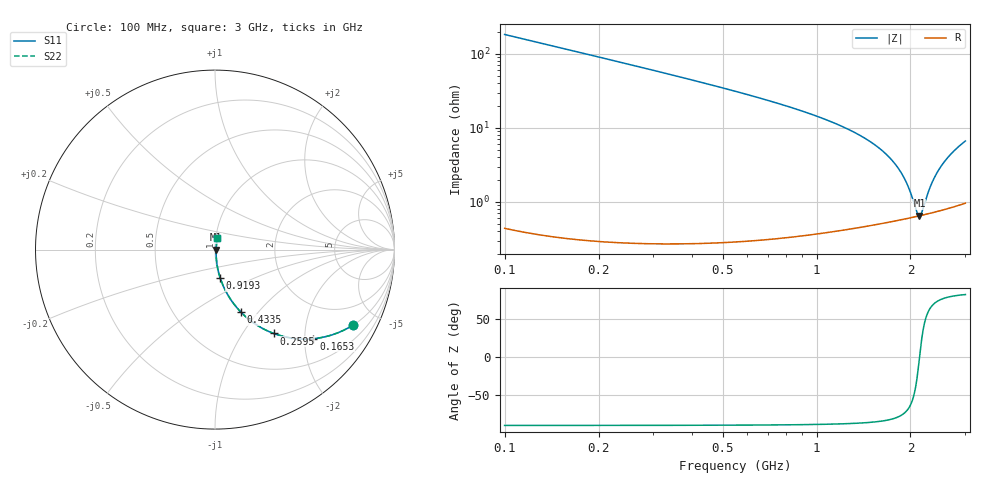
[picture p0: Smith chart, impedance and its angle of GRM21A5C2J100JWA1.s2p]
!Murata Part Number: GRM21A5C2J100JWA1
!These Parameters are Measured in Series Mode Connection
!Data Generated on Mar 30, 2021
!  o--ll--o
!Port1  Port2
!  o------o
!Operation Temp=25[degC], DC Bias Voltage=0[V]
!Freq. Start=100[MHz] Stop=3[GHz] 401[Steps]
# Hz S RI R 50
!Freq.(Hz) S11(Real) S11(Imag) S21(Real) S21(Imag) S12(Real) S12(Imag) S22(Real) S22(Imag)
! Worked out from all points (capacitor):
!   401 points, 100 MHz to 3 GHz, reference 50 ohm
!   read as one part in series: C = 8.69 pF near 114.5 MHz
!   lowest |Z| = 648 mohm at 2.137 GHz (marker M1)
!   series resonance near 2.139 GHz, so ESL is about 640 pH
!   S11 on the Smith chart (normalised r, x): 100 MHz: 1.01, -3.65; 165.2 MHz: 1.01, -2.20; 259.5 MHz: 1.01, -1.39; 433.5 MHz: 1.01, -0.81; 919.2 MHz: 1.01, -0.33; 3 GHz: 1.02, +0.13
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1e8  0.7689 -0.4203  0.2311 0.4203  0.2311 0.4203  0.7689 -0.4203
1.6525e8  0.548 -0.4963  0.452 0.4963  0.452 0.4963  0.548 -0.4963
2.0875e8  0.4304 -0.4935  0.5696 0.4935  0.5696 0.4935  0.4304 -0.4935
2.595e8  0.3266 -0.467  0.6734 0.467  0.6734 0.467  0.3266 -0.467
3.3925e8  0.2182 -0.4104  0.7818 0.4104  0.7818 0.4104  0.2182 -0.4104
4.335e8  0.1428 -0.3465  0.8572 0.3465  0.8572 0.3465  0.1428 -0.3465
5.8575e8  0.0797 -0.2659  0.9203 0.2659  0.9203 0.2659  0.0797 -0.2659
9.1925e8  0.0292 -0.158  0.9708 0.158  0.9708 0.158  0.0292 -0.158
1.0715e9  0.02 -0.1261  0.98 0.1261  0.98 0.1261  0.02 -0.1261
1.55e9  0.00813 -0.0566  0.9919 0.0566  0.9919 0.0566  0.00813 -0.0566
1.7095e9  0.00685 -0.0393  0.9931 0.0393  0.9931 0.0393  0.00685 -0.0393
1.84e9  0.00633 -0.0264  0.9937 0.0264  0.9937 0.0264  0.00633 -0.0264
1.94875e9  0.00619 -0.0164  0.9938 0.0164  0.9938 0.0164  0.00619 -0.0164
2.03575e9  0.00623 -0.00872  0.9938 0.00872  0.9938 0.00872  0.00623 -0.00872
2.101e9  0.00635 -0.00316  0.9937 0.00316  0.9937 0.00316  0.00635 -0.00316
2.13725e9  0.00644 -0.000132  0.9936 0.000132  0.9936 0.000132  0.00644 -0.000132
2.1735e9  0.00656 0.00286  0.9934 -0.00286  0.9934 -0.00286  0.00656 0.00286
2.275e9  0.00697 0.011  0.993 -0.011  0.993 -0.011  0.00697 0.011
2.3475e9  0.00736 0.0167  0.9926 -0.0167  0.9926 -0.0167  0.00736 0.0167
2.5215e9  0.00855 0.0299  0.9915 -0.0299  0.9915 -0.0299  0.00855 0.0299
2.73175e9  0.0105 0.0453  0.9895 -0.0453  0.9895 -0.0453  0.0105 0.0453
3e9  0.0137 0.0643  0.9863 -0.0643  0.9863 -0.0643  0.0137 0.0643
